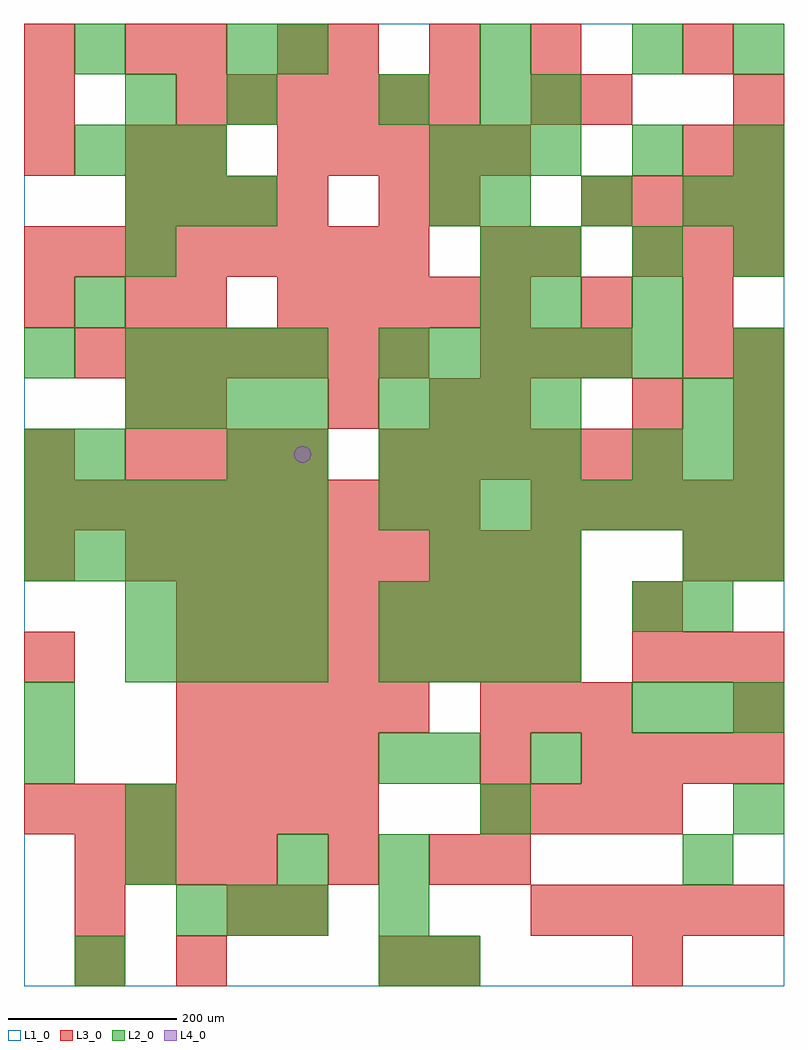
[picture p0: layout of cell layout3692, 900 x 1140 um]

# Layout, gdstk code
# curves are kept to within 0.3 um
import gdstk
lib = gdstk.Library(unit=1e-6, precision=1e-09)
def R(c, l, rs):  # rectangles x0, y0, x1, y1
    for r in rs: c.add(gdstk.rectangle(r[:2], r[2:], *l))
def A(c, l, x, y, w, h, nx, ny, dx, dy):  # array of equal rectangles
    R(c, l, [(x+i*dx, y+j*dy, x+i*dx+w, y+j*dy+h) for i in range(nx) for j in range(ny)])
def P(c, l, *ps):  # polygons
    for p in ps: c.add(gdstk.Polygon(p, *l))
L1_0 = (1, 0)
L2_0 = (2, 0)
L3_0 = (3, 0)
L4_0 = (4, 0)

layout3692 = lib.new_cell('layout3692')
R(layout3692, L1_0, [(0,0,900,1140)])
A(layout3692, L2_0, 420, 0, 60, 60, 1, 3, 0, 60)
A(layout3692, L2_0, 180, 60, 60, 60, 3, 1, 60, 0)
A(layout3692, L2_0, 300, 120, 60, 60, 1, 3, 0, 480)
A(layout3692, L2_0, 720, 300, 60, 60, 3, 2, 60, 300)
A(layout3692, L2_0, 120, 360, 60, 60, 4, 2, 60, 60)
A(layout3692, L2_0, 420, 360, 60, 60, 4, 2, 60, 60)
A(layout3692, L2_0, 0, 480, 60, 60, 6, 2, 60, 60)
A(layout3692, L2_0, 480, 480, 60, 60, 3, 2, 60, 480)
A(layout3692, L2_0, 420, 540, 60, 60, 8, 1, 60, 0)
A(layout3692, L2_0, 420, 600, 60, 60, 4, 2, 60, 60)
A(layout3692, L2_0, 120, 660, 60, 60, 4, 2, 60, 60)
A(layout3692, L2_0, 420, 720, 60, 60, 6, 1, 60, 0)
A(layout3692, L2_0, 600, 840, 60, 60, 3, 1, 120, 0)
A(layout3692, L2_0, 120, 900, 60, 60, 3, 1, 60, 0)
A(layout3692, L2_0, 540, 900, 60, 60, 3, 1, 120, 0)
A(layout3692, L2_0, 60, 960, 60, 60, 3, 1, 60, 0)
R(layout3692, L2_0, [(60,0,120,60), (480,0,540,60), (120,120,180,180), (780,120,840,180), (120,180,180,240), (540,180,600,240), (840,180,900,240), (0,240,60,300), (420,240,480,300), (480,240,540,300), (600,240,660,300), (0,300,60,360), (720,420,780,480), (780,420,840,480), (780,480,840,540), (840,480,900,540), (0,600,60,660), (60,600,120,660), (240,600,300,660), (780,660,840,720), (840,660,900,720), (0,720,60,780), (840,720,900,780), (60,780,120,840), (540,780,600,840), (600,780,660,840), (720,780,780,840), (120,840,180,900), (540,840,600,900), (480,900,540,960), (840,900,900,960), (720,960,780,1020), (840,960,900,1020), (120,1020,180,1080), (240,1020,300,1080), (420,1020,480,1080), (540,1020,600,1080), (600,1020,660,1080), (60,1080,120,1140), (240,1080,300,1140), (540,1080,600,1140), (720,1080,780,1140), (840,1080,900,1140)])
A(layout3692, L3_0, 600, 60, 60, 60, 5, 2, 60, 480)
A(layout3692, L3_0, 60, 120, 60, 60, 4, 1, 60, 0)
A(layout3692, L3_0, 0, 180, 60, 60, 7, 1, 60, 0)
A(layout3692, L3_0, 540, 180, 60, 60, 4, 1, 60, 0)
A(layout3692, L3_0, 180, 240, 60, 60, 4, 1, 60, 0)
A(layout3692, L3_0, 660, 240, 60, 60, 4, 2, 60, 660)
A(layout3692, L3_0, 180, 300, 60, 60, 5, 1, 60, 0)
A(layout3692, L3_0, 540, 300, 60, 60, 3, 2, 60, 420)
A(layout3692, L3_0, 0, 360, 60, 60, 1, 3, 0, 120)
A(layout3692, L3_0, 180, 360, 60, 60, 8, 2, 60, 60)
A(layout3692, L3_0, 720, 360, 60, 60, 3, 2, 60, 480)
A(layout3692, L3_0, 120, 480, 60, 60, 9, 1, 60, 0)
A(layout3692, L3_0, 0, 540, 60, 60, 9, 1, 60, 0)
A(layout3692, L3_0, 120, 600, 60, 60, 4, 2, 60, 300)
A(layout3692, L3_0, 420, 600, 60, 60, 6, 1, 60, 0)
A(layout3692, L3_0, 840, 600, 60, 60, 1, 3, 0, 60)
A(layout3692, L3_0, 60, 720, 60, 60, 7, 1, 60, 0)
A(layout3692, L3_0, 300, 780, 60, 60, 5, 2, 60, 180)
A(layout3692, L3_0, 0, 840, 60, 60, 8, 1, 60, 0)
A(layout3692, L3_0, 0, 960, 60, 60, 1, 3, 0, 60)
A(layout3692, L3_0, 180, 1020, 60, 60, 6, 1, 60, 0)
A(layout3692, L3_0, 360, 1080, 60, 60, 3, 1, 120, 0)
R(layout3692, L3_0, [(60,0,120,60), (180,0,240,60), (420,0,480,60), (480,0,540,60), (720,0,780,60), (60,60,120,120), (240,60,300,120), (300,60,360,120), (360,120,420,180), (480,120,540,180), (540,120,600,180), (540,240,600,300), (840,300,900,360), (720,420,780,480), (780,480,840,540), (840,480,900,540), (120,660,180,720), (180,660,240,720), (360,660,420,720), (480,660,540,720), (540,660,600,720), (720,660,780,720), (780,720,840,780), (0,780,60,840), (120,780,180,840), (180,780,240,840), (660,780,720,840), (780,780,840,840), (540,840,600,900), (600,840,660,900), (420,900,480,960), (480,900,540,960), (120,960,180,1020), (180,960,240,1020), (780,960,840,1020), (840,960,900,1020), (600,1020,660,1080), (660,1020,720,1080), (840,1020,900,1080), (120,1080,180,1140), (180,1080,240,1140), (300,1080,360,1140), (780,1080,840,1140)])
P(layout3692, L4_0, [(340,630),(339.239,633.827),(337.071,637.071),(333.827,639.239),(330,640),(326.173,639.239),(322.929,637.071),(320.761,633.827),(320,630),(320.761,626.173),(322.929,622.929),(326.173,620.761),(330,620),(333.827,620.761),(337.071,622.929),(339.239,626.173)])

lib.write_gds('layout3692.gds')
